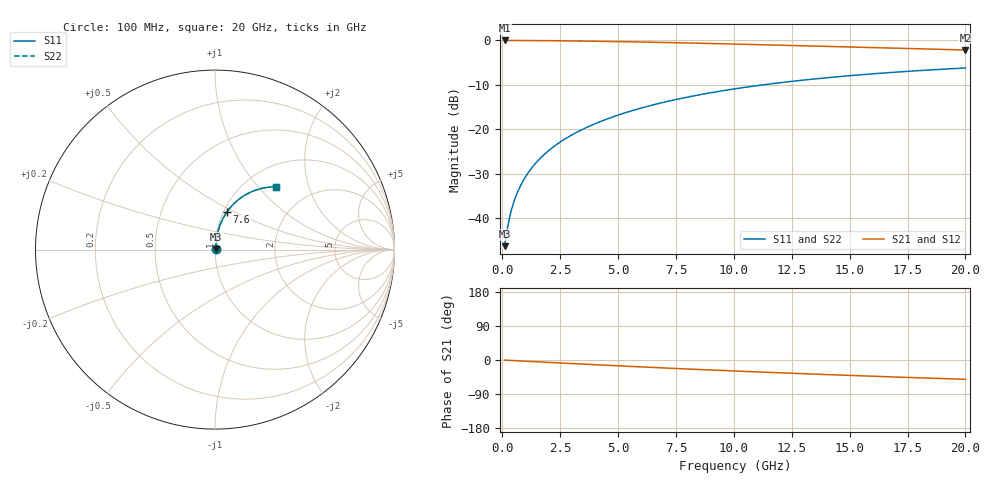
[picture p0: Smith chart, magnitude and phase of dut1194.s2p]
! Touchstone file exported from HFSS 2024.1.0
!  File:  C:/UserFiles/LocalFiles/RDL_TSV_Batchsim/temp_RDL_top_1194_1780049700.aedt
!  Generated:  06:17:12 PM May 29, 2026
!  Design:  RDL_top
!  Project:  temp_RDL_top_1194_1780049700
!  Setup:  Setup1
!  Solution:  Sweep
! Variables:
!  dtsv = 10.80580581um
!  hbump = 3um
!  htsv = 72.73um
!  ldown = 100um
!  lrdl = 680.79um
!  p = 40
!  p1 = 59.76um
!  rhole = 1um
!  t = 450um
!  tdown = 3.915915916um
!  trdl = 3.47um
!  wdown = 15.38538539um
!  wrdl = 19.02um
# GHz S MA R 50.000000
! Terminal data exported
! Port[1] = Box2_T1
! Port[2] = Box2_T2
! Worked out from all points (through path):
!   200 points, 100 MHz to 20 GHz, reference 50 ohm
!   highest |S21| = -0.03 dB at 100 MHz (marker M1); lowest = -2.2 dB at 20 GHz (marker M2)
!   group delay of S21, straight-line fit = 7.05 ps
!   lowest |S11| = -46.2 dB at 100 MHz (marker M3), VSWR 1.01, Z = 50.4 + j0.307 ohm
!   |S11| at or under -10 dB: start of sweep to 11.26 GHz
!   |S22| runs from -46.2 to -6.2 dB; largest |S21 - S12| = 7.5e-15
!   S11 on the Smith chart (normalised r, x): 100 MHz: 1.01, +0.01; 7.6 GHz: 1.04, +0.46; 20 GHz: 1.37, +1.26
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0.1  0.004876 38.7  0.9962 -0.3  0.9962 -0.3  0.004876 38.7
! Gamma 0 0 0 0
! Port Impedance 50 0 50 0
0.2  0.007218 56.8  0.996 -0.7  0.996 -0.7  0.007218 56.8
0.3  0.009868 65.2  0.9958 -1.0  0.9958 -1.0  0.009868 65.2
0.4  0.01259 69.9  0.9956 -1.3  0.9956 -1.3  0.01259 69.9
0.5  0.01534 72.9  0.9954 -1.6  0.9954 -1.6  0.01534 72.9
0.6  0.0181 75.0  0.9952 -1.9  0.9952 -1.9  0.0181 75.0
0.8  0.02366 77.7  0.9947 -2.6  0.9947 -2.6  0.02366 77.7
1.1  0.03207 79.8  0.9939 -3.5  0.9939 -3.5  0.03207 79.8
1.5  0.0434 81.1  0.9926 -4.8  0.9926 -4.8  0.0434 81.1
1.8  0.05194 81.5  0.9913 -5.7  0.9913 -5.7  0.05194 81.5
2.1  0.06053 81.7  0.9899 -6.6  0.9899 -6.6  0.06053 81.7
2.7  0.07779 81.4  0.9864 -8.5  0.9864 -8.5  0.07778 81.4
3.5  0.1009 80.6  0.9807 -10.9  0.9807 -10.9  0.1009 80.5
4.2  0.1213 79.5  0.9749 -13.0  0.9749 -13.0  0.1213 79.5
5  0.1446 78.0  0.9673 -15.4  0.9673 -15.4  0.1445 78.0
5.9  0.1706 76.2  0.9579 -18.0  0.9579 -18.0  0.1706 76.2
6.8  0.1965 74.3  0.9477 -20.5  0.9477 -20.5  0.1964 74.3
7.6  0.2191 72.5  0.9382 -22.7  0.9382 -22.7  0.2191 72.5
10.1  0.2867 66.8  0.9065 -29.2  0.9065 -29.2  0.2867 66.7
13.4  0.3664 59.2  0.8628 -37.1  0.8628 -37.1  0.3663 59.2
16.7  0.4336 52.2  0.8194 -44.3  0.8194 -44.3  0.4335 52.1
20  0.4886 45.7  0.7783 -51.0  0.7783 -51.0  0.4885 45.7
